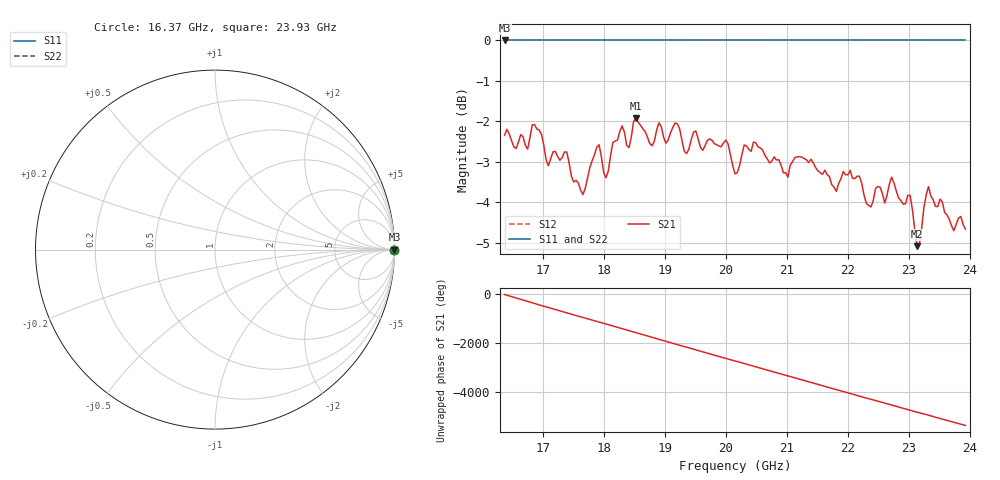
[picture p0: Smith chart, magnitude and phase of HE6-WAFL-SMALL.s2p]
!Agilent N9918A: A.07.57
!Date: Thursday, 22 August 2019 16:16:21
!Timezone: (GMT-08:00) Pacific Time (US & Canada)
!Model: N9918A
!Serial: MY53103598
!GPS Latitude:
!GPS Longitude:
!GPS TimeStamp: 0001-01-01 00:00:00Z
!GPS Seconds Since Last Read: 0
!CHECKSUM:0273885126
!Correction: S11()S21(Rdy)S12()S22()
!S2P File: Measurements:S11,S21,S12,S22:
# Hz S DB R 50
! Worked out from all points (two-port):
!   201 points, 16.37 GHz to 23.93 GHz, reference 50 ohm
!   highest |S21| = -1.91 dB at 18.53 GHz (marker M1); lowest = -5.1 dB at 23.14 GHz (marker M2)
!   |S21| within 3 dB of the highest: start of sweep to 23.12 GHz; 23.19 GHz to end of sweep
!   lowest |S11| = 0.0 dB at 16.37 GHz (marker M3)
!   |S11| at or under -10 dB: nowhere
!   |S22| runs from 0.0 to 0.0 dB; largest |S21 - S12| = 1.8
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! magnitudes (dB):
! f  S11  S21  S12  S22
! 16.37 GHz  0.0  -2.3  0.0  0.0
! 16.75 GHz  0.0  -2.7  0.0  0.0
! 16.86 GHz  0.0  -2.1  0.0  0.0
! 17.66 GHz  0.0  -3.8  0.0  0.0
! 17.88 GHz  0.0  -2.6  0.0  0.0
! 18.03 GHz  0.0  -3.4  0.0  0.0
! 18.53 GHz  0.0  -1.9  0.0  0.0
! 18.79 GHz  0.0  -2.6  0.0  0.0
! 18.9 GHz  0.0  -2.0  0.0  0.0
! 19.36 GHz  0.0  -2.8  0.0  0.0
! 20 GHz  0.0  -2.5  0.0  0.0
! 20.19 GHz  0.0  -3.3  0.0  0.0
! 20.45 GHz  0.0  -2.5  0.0  0.0
! 21.02 GHz  0.0  -3.4  0.0  0.0
! 21.44 GHz  0.0  -3.0  0.0  0.0
! 22.19 GHz  0.0  -3.4  0.0  0.0
! 22.38 GHz  0.0  -4.1  0.0  0.0
! 22.68 GHz  0.0  -3.6  0.0  0.0
! 23.02 GHz  0.0  -3.8  0.0  0.0
! 23.14 GHz  0.0  -5.1  0.0  0.0
! 23.32 GHz  0.0  -3.6  0.0  0.0
! 23.93 GHz  0.0  -4.7  0.0  0.0
